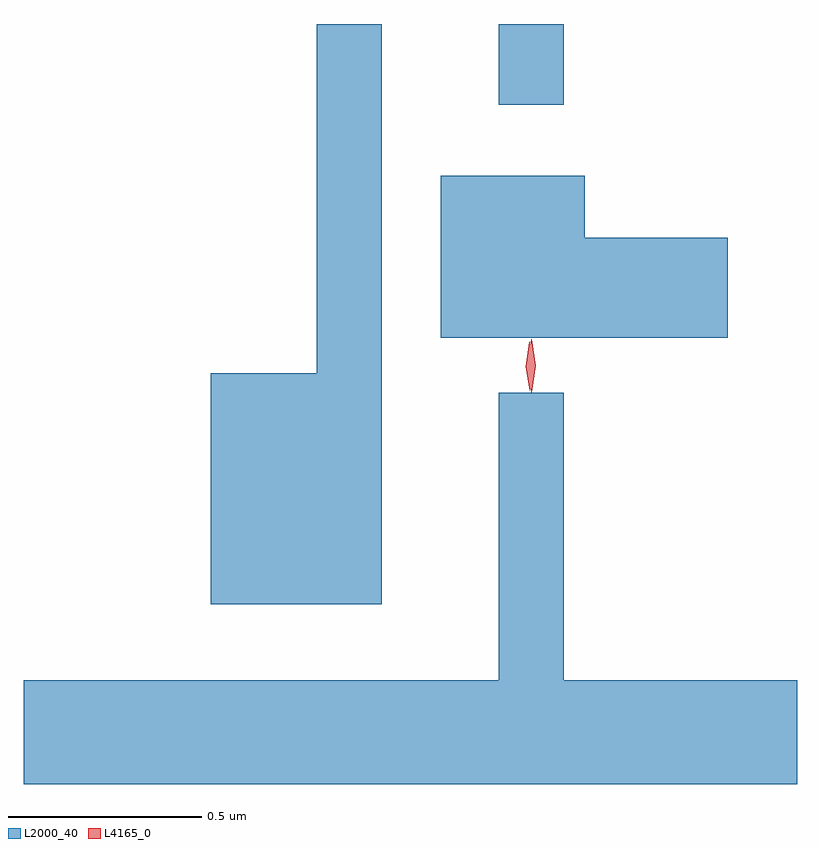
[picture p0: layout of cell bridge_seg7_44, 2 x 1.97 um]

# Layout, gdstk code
import gdstk
lib = gdstk.Library(unit=1e-6, precision=1e-09)
def R(c, l, rs):  # rectangles x0, y0, x1, y1
    for r in rs: c.add(gdstk.rectangle(r[:2], r[2:], *l))
def P(c, l, *ps):  # polygons
    for p in ps: c.add(gdstk.Polygon(p, *l))
L2000_40 = (2000, 40)
L4165_0 = (4165, 0)

bridge_seg7_44 = lib.new_cell('bridge_seg7_44')
R(bridge_seg7_44, L2000_40, [(1560.221,1760.473,1560.389,1760.682)])
P(bridge_seg7_44, L2000_40, [(1559.919,1760.682),(1559.751,1760.682),(1559.751,1759.779),(1559.476,1759.779),(1559.476,1759.181),(1559.919,1759.181)],
  [(1560.814,1760.129),(1560.444,1760.129),(1560.444,1760.289),(1560.071,1760.289),(1560.071,1759.871),(1560.814,1759.871)],
  [(1560.993,1758.984),(1560.389,1758.984),(1560.389,1759.728),(1560.221,1759.728),(1560.221,1758.984),(1558.993,1758.984),(1558.993,1758.716),(1560.993,1758.716)])
P(bridge_seg7_44, L4165_0, [(1560.301,1759.733),(1560.301,1759.733),(1560.291,1759.796),(1560.3,1759.859),(1560.301,1759.86),(1560.301,1759.859),(1560.311,1759.796),(1560.302,1759.733)],
  [(1560.306,1759.73),(1560.297,1759.798),(1560.306,1759.866),(1560.307,1759.866),(1560.307,1759.866),(1560.317,1759.798),(1560.307,1759.73),(1560.307,1759.73)])

lib.write_gds('bridge_seg7_44.gds')
